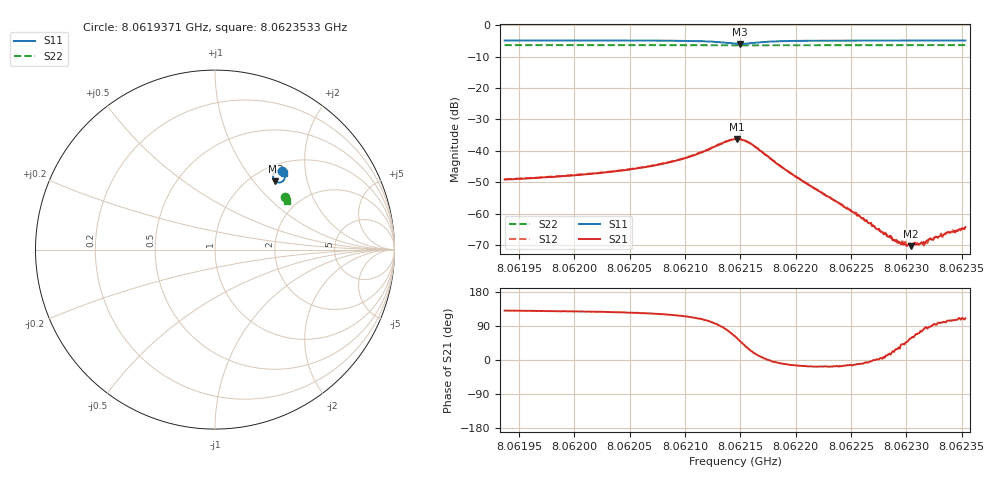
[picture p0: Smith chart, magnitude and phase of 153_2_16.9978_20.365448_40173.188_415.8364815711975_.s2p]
#  HZ  S  RI  R  50.00
! Rohde & Schwarz Vector Network Analyzer
! Rohde-Schwarz,ZNB20-2Port,1311601062101988,3.16
! Created: UTC 3/20/2024, 10:58:56 PM
! freq[Hz]  re:S11  im:S11  re:S21  im:S21  re:S12  im:S12  re:S22  im:S22
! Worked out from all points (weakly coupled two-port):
!   401 points, 8.0619371 GHz to 8.0623533 GHz, reference 50 ohm
!   highest |S21| = -36.21 dB at 8.0621472 GHz (marker M1); lowest = -70.3 dB at 8.0623044 GHz (marker M2)
!   lowest |S11| = -5.9 dB at 8.0621493 GHz (marker M3), VSWR 3.06, Z = 63.5 + j65 ohm
!   |S11| at or under -10 dB: nowhere
!   |S22| runs from -6.3 to -6.3 dB; largest |S21 - S12| = 0.0012
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8.06193706e9  0.3722 0.4392  -0.00227 0.00265  -0.00208 0.00282  0.3875 0.292
8.06200677e9  0.3781 0.4332  -0.00259 0.0033  -0.00236 0.00348  0.3898 0.2884
8.06204215e9  0.3817 0.429  -0.00283 0.00395  -0.00264 0.0041  0.391 0.2868
8.06207649e9  0.3859 0.4221  -0.00314 0.00516  -0.0029 0.0054  0.3922 0.2848
8.06210667e9  0.3893 0.4093  -0.00319 0.00769  -0.00274 0.00798  0.3932 0.2828
8.06213684e9  0.3712 0.377  0.00212 0.0139  0.00297 0.0138  0.3929 0.2803
8.06214517e9  0.3486 0.3747  0.00702 0.0136  0.00809 0.0131  0.3921 0.2802
8.06214725e9  0.3425 0.3769  0.00857 0.0129  0.00928 0.0124  0.3919 0.2803
8.06214933e9  0.3366 0.3802  0.00963 0.0118  0.0104 0.0112  0.3917 0.2805
8.06215974e9  0.3236 0.4082  0.0118 0.00516  0.0121 0.00449  0.3919 0.2814
8.06219303e9  0.3536 0.4395  0.00459 -0.000958  0.00457 -0.00129  0.3948 0.2806
8.06221488e9  0.364 0.4389  0.00253 -0.000771  0.00254 -0.000948  0.3959 0.2794
8.06225443e9  0.3735 0.4355  0.000965 -0.000204  0.001 -0.000275  0.3975 0.2774
8.06227732e9  0.3771 0.4336  0.000505 4.62e-05  0.000514 1.28e-05  0.3984 0.2762
8.0622846e9  0.3779 0.433  0.000413 0.000125  0.000434 4.98e-05  0.3985 0.2758
8.06229293e9  0.3789 0.4325  0.0003 0.000196  0.000311 0.000159  0.3988 0.2754
8.06229917e9  0.3797 0.4321  0.000221 0.000232  0.000257 0.000232  0.3991 0.2748
8.06230437e9  0.3802 0.4316  0.000161 0.000258  0.000196 0.000249  0.3993 0.2748
8.06231686e9  0.3815 0.4307  2.67e-05 0.00033  9.23e-05 0.000348  0.3999 0.2742
8.06232206e9  0.382 0.4302  1.12e-05 0.000399  1e-05 0.000398  0.3999 0.2738
8.06233975e9  0.3836 0.4292  -0.000125 0.000479  -7.44e-05 0.000493  0.4005 0.2729
8.06235328e9  0.3847 0.4282  -0.000208 0.000571  -0.00017 0.000554  0.4009 0.2723
